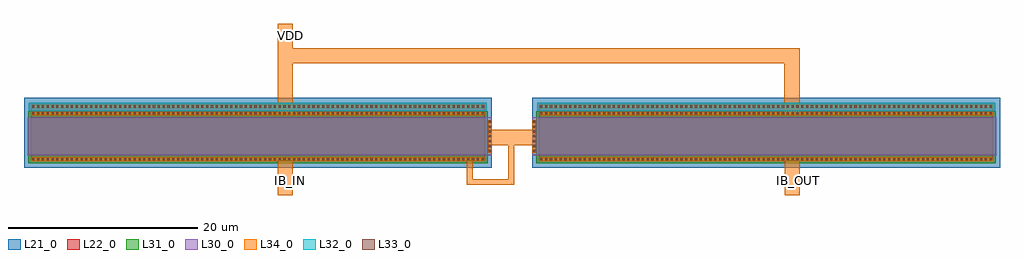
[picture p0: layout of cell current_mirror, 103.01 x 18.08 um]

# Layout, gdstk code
from math import pi, radians
import gdstk
lib = gdstk.Library(unit=1e-6, precision=1e-09)
def R(c, l, rs):  # rectangles x0, y0, x1, y1
    for r in rs: c.add(gdstk.rectangle(r[:2], r[2:], *l))
def A(c, l, x, y, w, h, nx, ny, dx, dy):  # array of equal rectangles
    R(c, l, [(x+i*dx, y+j*dy, x+i*dx+w, y+j*dy+h) for i in range(nx) for j in range(ny)])
L21_0 = (21, 0)
L22_0 = (22, 0)
L30_0 = (30, 0)
L31_0 = (31, 0)
L32_0 = (32, 0)
L33_0 = (33, 0)
L34_0 = (34, 0)

pfet = lib.new_cell('pfet')
R(pfet, L21_0, [(-1.15,-0.69,6.26,48.69)])
R(pfet, L22_0, [(-0.46,0,0,48), (0,0,4.38,48), (4.38,0,4.84,48), (4.84,0,5.57,48)])
R(pfet, L30_0, [(0.19,-0.68,4.19,-0.3), (0.19,-0.3,4.19,48.3)])
R(pfet, L31_0, [(-0.63,-0.24,4.84,48.24)])
R(pfet, L32_0, [(4.84,-0.17,5.74,48.17)])
A(pfet, L33_0, 0.55, -0.6, 0.22, 0.22, 7, 1, 0.51, 0)
A(pfet, L33_0, -0.34, 0.175, 0.22, 0.22, 1, 94, 0, 0.51)
A(pfet, L33_0, 4.5, 0.175, 0.22, 0.22, 1, 94, 0, 0.51)
A(pfet, L33_0, 5.23, 0.175, 0.22, 0.22, 1, 94, 0, 0.51)
R(pfet, L34_0, [(0.47,-0.68,3.91,-0.3), (-0.42,0.095,-0.04,47.905), (4.42,0.095,4.8,47.905), (5.15,0.095,5.53,47.905)])

pfet_1 = lib.new_cell('pfet$1')
R(pfet_1, L21_0, [(-1.15,-0.69,6.26,48.69)])
R(pfet_1, L22_0, [(-0.46,0,0,48), (0,0,4.38,48), (4.38,0,4.84,48), (4.84,0,5.57,48)])
R(pfet_1, L30_0, [(0.19,-0.3,4.19,48.3), (0.19,48.3,4.19,48.68)])
R(pfet_1, L31_0, [(-0.63,-0.24,4.84,48.24)])
R(pfet_1, L32_0, [(4.84,-0.17,5.74,48.17)])
A(pfet_1, L33_0, -0.34, 0.175, 0.22, 0.22, 1, 94, 0, 0.51)
A(pfet_1, L33_0, 4.5, 0.175, 0.22, 0.22, 1, 94, 0, 0.51)
A(pfet_1, L33_0, 5.23, 0.175, 0.22, 0.22, 1, 94, 0, 0.51)
A(pfet_1, L33_0, 0.55, 48.38, 0.22, 0.22, 7, 1, 0.51, 0)
R(pfet_1, L34_0, [(-0.42,0.095,-0.04,47.905), (4.42,0.095,4.8,47.905), (5.15,0.095,5.53,47.905), (0.47,48.3,3.91,48.68)])

current_mirror = lib.new_cell('current_mirror')
current_mirror.add(gdstk.FlexPath([(-21.13,4.58),(-21.13,10.68),(32.36,10.68),(32.36,4.6)], 1.6, ends="flush", simple_path=True, layer=34, datatype=0))  # L34_0
current_mirror.add(gdstk.FlexPath([(0.51,2.07),(5.16,2.07)], 1.6, ends="flush", simple_path=True, layer=34, datatype=0))  # L34_0
current_mirror.add(gdstk.FlexPath([(-21.12,-0.25),(-21.12,-4.02)], 1.6, ends="flush", simple_path=True, layer=34, datatype=0))  # L34_0
current_mirror.add(gdstk.FlexPath([(32.4,-0.25),(32.4,-4.02)], 1.6, ends="flush", simple_path=True, layer=34, datatype=0))  # L34_0
current_mirror.add(gdstk.FlexPath([(-21.12,10.2),(-21.12,14.06)], 1.6, ends="flush", simple_path=True, layer=34, datatype=0))  # L34_0
current_mirror.add(gdstk.FlexPath([(2.74,1.97),(2.74,-2.63),(-1.64,-2.63),(-1.64,-0.22)], 0.6, ends="flush", simple_path=True, layer=34, datatype=0))  # L34_0
current_mirror.add(gdstk.Reference(pfet, (0,0), rotation=pi/2))
current_mirror.add(gdstk.Reference(pfet_1, (53.63,0), rotation=pi/2))
current_mirror.add(gdstk.Label('IB_IN', (-20.52,-2.5), layer=34, texttype=10))
current_mirror.add(gdstk.Label('IB_OUT', (33.081,-2.499), layer=34, texttype=10))
current_mirror.add(gdstk.Label('VDD', (-20.516,12.784), layer=34, texttype=10))

lib.write_gds('current_mirror.gds')
